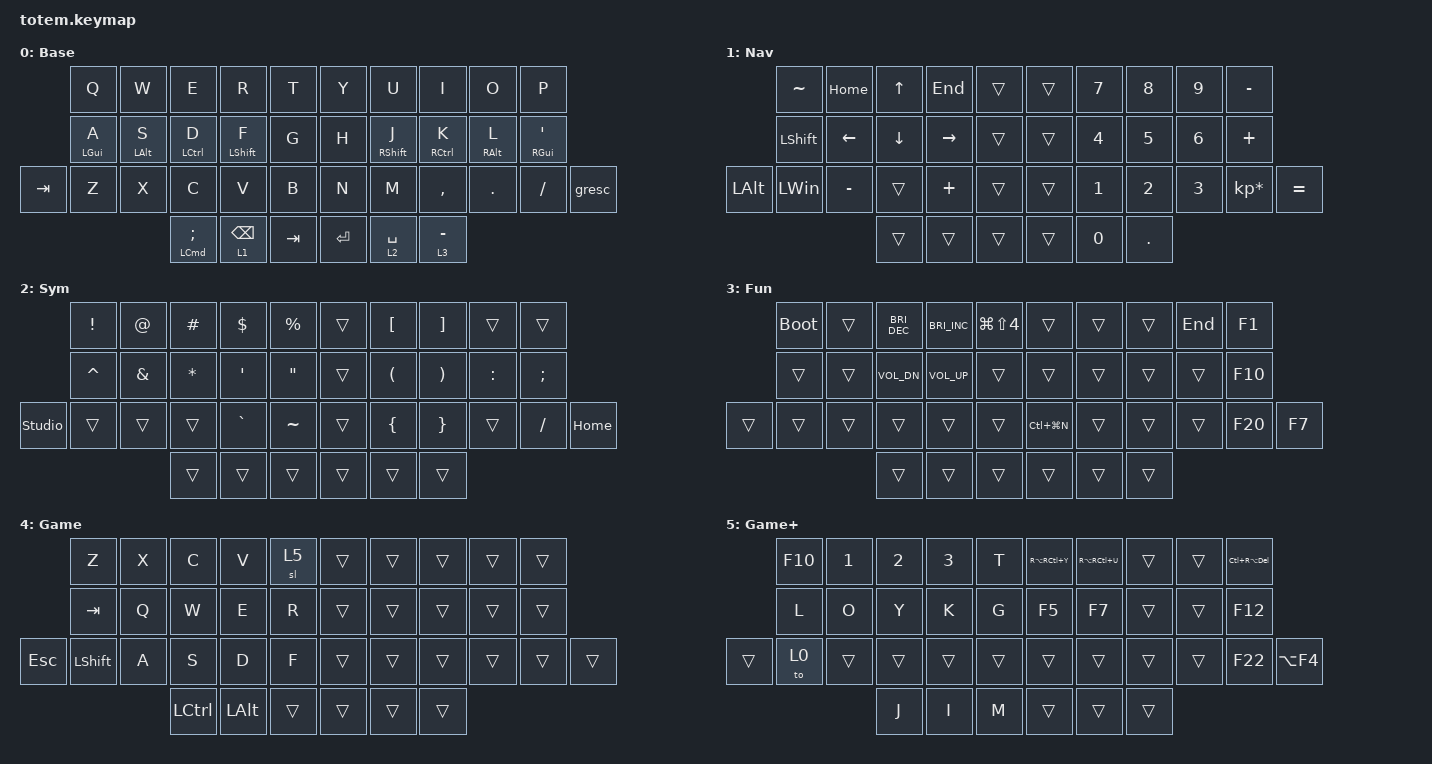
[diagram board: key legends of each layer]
//
//                                                        ▀▀▀▀▀     ▀▀▀▀▀          ▀▀█▀▀
//                                                        ▄▀▀▀▄  ▄  ▄▀▀▀▄  ▄  ▄▀▀▀▄  █  ▄▀▀▀▄
//                                                        █   █  █  █   █  █  █   █  █  █   █
//                                                         ▀▀▀   █   ▀▀▀   █   ▀▀▀   ▀   ▀▀▀
//                                                               █      ▄▄▄█▄▄▄    █   █  
//                                                               ▀      █  █  █     █▄█
//                                                             ▀▀▀▀▀    █  █  █      ▀
//                                                                      ▀  ▀  ▀
//
// ▄▄▄▄▄▄▄▄▄▄▄▄▄▄▄▄▄▄▄▄▄▄▄▄▄▄▄▄▄▄▄▄▄▄▄▄▄▄▄▄▄▄▄▄▄▄▄▄▄▄▄▄▄▄▄▄▄▄▄▄▄▄▄▄▄▄▄▄▄▄▄▄▄▄▄▄▄▄▄▄▄▄▄▄▄▄▄▄▄▄▄▄▄▄▄▄▄▄▄▄▄▄▄▄▄▄▄▄▄▄▄▄▄▄▄▄▄▄▄▄▄▄▄▄▄▄▄▄▄▄▄▄▄▄▄▄▄▄▄▄▄▄▄▄▄▄▄▄▄

#include <behaviors.dtsi>
#include <dt-bindings/zmk/keys.h>

#define Base        0
#define Nav         1
#define Sym         2
#define Fun         3
#define Game        4
#define Gameplus    5

&mt {
    quick-tap-ms = <100>;
    global-quick-tap;
    flavor = "tap-preferred";
    tapping-term-ms = <170>;
};

&lt {
    tapping-term-ms = <240>;
    flavor = "balanced";
    quick-tap-ms = <150>;
};

/ {
    behaviors {
        hm: homerow_mods {
            compatible = "zmk,behavior-hold-tap";
            label = "HOMEROW_MODS";
            #binding-cells = <2>;
            flavor = "tap-preferred";
            tapping-term-ms = <170>;
            quick-tap-ms = <125>;
            global-quick-tap;
            bindings = <&kp>, <&kp>;
        };
    };

    combos {
        compatible = "zmk,combos";

        left_bracket {
            bindings = <&kp LEFT_BRACKET>;
            key-positions = <2 3>;
        };

        left_parenthesis {
            bindings = <&kp LEFT_PARENTHESIS>;
            key-positions = <12 13>;
        };

        left_brace {
            bindings = <&kp LEFT_BRACE>;
            key-positions = <23 24>;
        };

        right_bracket {
            bindings = <&kp RIGHT_BRACKET>;
            key-positions = <6 7>;
        };

        right_parenthesis {
            bindings = <&kp RIGHT_PARENTHESIS>;
            key-positions = <16 17>;
        };

        right_brace {
            bindings = <&kp RIGHT_BRACE>;
            key-positions = <27 28>;
        };

        colon {
            bindings = <&kp COLON>;
            key-positions = <11 12>;
        };
    };

    keymap {
        compatible = "zmk,keymap";

        Base {
            display-name = "Base";
            bindings = <
         &kp Q       &kp W       &kp E                  &kp R            &kp T      &kp Y      &kp U        &kp I        &kp O       &kp P
         &hm LGUI A  &hm LALT S  &hm LCTRL D            &hm LSHIFT F     &kp G      &kp H      &hm RSHFT J  &hm RCTRL K  &hm RALT L  &hm RGUI APOSTROPHE
&kp TAB  &kp Z       &kp X       &kp C                  &kp V            &kp B      &kp N      &kp M        &kp COMMA    &kp DOT     &kp SLASH            &gresc
                                 &mt LEFT_COMMAND SEMI  &lt 1 BACKSPACE  &kp TAB    &kp ENTER  &lt 2 SPACE  &lt 3 MINUS
            >;
        };

        Nav {
            display-name = "Nav";
            bindings = <
              &kp TILDE       &kp HOME   &kp UP_ARROW  &kp END    &trans    &trans  &kp NUMBER_7  &kp NUMBER_8  &kp NUMBER_9  &kp MINUS
              &kp LEFT_SHIFT  &kp LEFT   &kp DOWN      &kp RIGHT  &trans    &trans  &kp NUMBER_4  &kp NUMBER_5  &kp NUMBER_6  &kp PLUS
&kp LEFT_ALT  &kp LEFT_WIN    &kp MINUS  &trans        &kp PLUS   &trans    &trans  &kp NUMBER_1  &kp NUMBER_2  &kp NUMBER_3  &kp KP_MULTIPLY  &kp EQUAL
                                         &trans        &trans     &trans    &trans  &kp NUMBER_0  &kp DOT
            >;
        };

        Sym {
            display-name = "Sym";
            bindings = <
                &kp EXCL   &kp AT    &kp HASH   &kp DOLLAR  &kp PERCENT    &trans  &kp LEFT_BRACKET      &kp RIGHT_BRACKET      &trans     &trans
                &kp CARET  &kp AMPS  &kp ASTRK  &kp SQT     &kp DQT        &trans  &kp LEFT_PARENTHESIS  &kp RIGHT_PARENTHESIS  &kp COLON  &kp SEMI
&studio_unlock  &trans     &trans    &trans     &kp GRAVE   &kp TILDE      &trans  &kp LEFT_BRACE        &kp RIGHT_BRACE        &trans     &kp SLASH  &kp HOME
                                     &trans     &trans      &trans         &trans  &trans                &trans
            >;
        };

        Fun {
            display-name = "Fun";
            bindings = <
        &bootloader  &trans  &kp C_BRIGHTNESS_DEC  &kp C_BRIGHTNESS_INC  &kp LG(LS(NUMBER_4))    &trans         &trans  &trans  &kp END  &kp F1
        &trans       &trans  &kp C_VOL_DN          &kp C_VOLUME_UP       &trans                  &trans         &trans  &trans  &trans   &kp F10
&trans  &trans       &trans  &trans                &trans                &trans                  &kp LC(LG(N))  &trans  &trans  &trans   &kp F20  &kp F7
                             &trans                &trans                &trans                  &trans         &trans  &trans
            >;
        };

        Gaming {
            display-name = "Game";
            bindings = <
            &kp Z           &kp X  &kp C      &kp V         &sl 5     &trans  &trans  &trans  &trans  &trans
            &kp TAB         &kp Q  &kp W      &kp E         &kp R     &trans  &trans  &trans  &trans  &trans
&kp ESCAPE  &kp LEFT_SHIFT  &kp A  &kp S      &kp D         &kp F     &trans  &trans  &trans  &trans  &trans  &trans
                                   &kp LCTRL  &kp LEFT_ALT  &trans    &trans  &trans  &trans
            >;
        };

        Gaming+ {
            display-name = "Game+";
            bindings = <
        &kp F10  &kp NUMBER_1  &kp NUMBER_2  &kp NUMBER_3  &kp T     &kp RA(RC(Y))  &kp RA(RC(U))  &trans  &trans  &kp LC(RA(DEL))
        &kp L    &kp O         &kp Y         &kp K         &kp G     &kp F5         &kp F7         &trans  &trans  &kp F12
&trans  &to 0    &trans        &trans        &trans        &trans    &trans         &trans         &trans  &trans  &kp F22          &kp LA(F4)
                               &kp J         &kp I         &kp M     &trans         &trans         &trans
            >;
        };
    };
};
